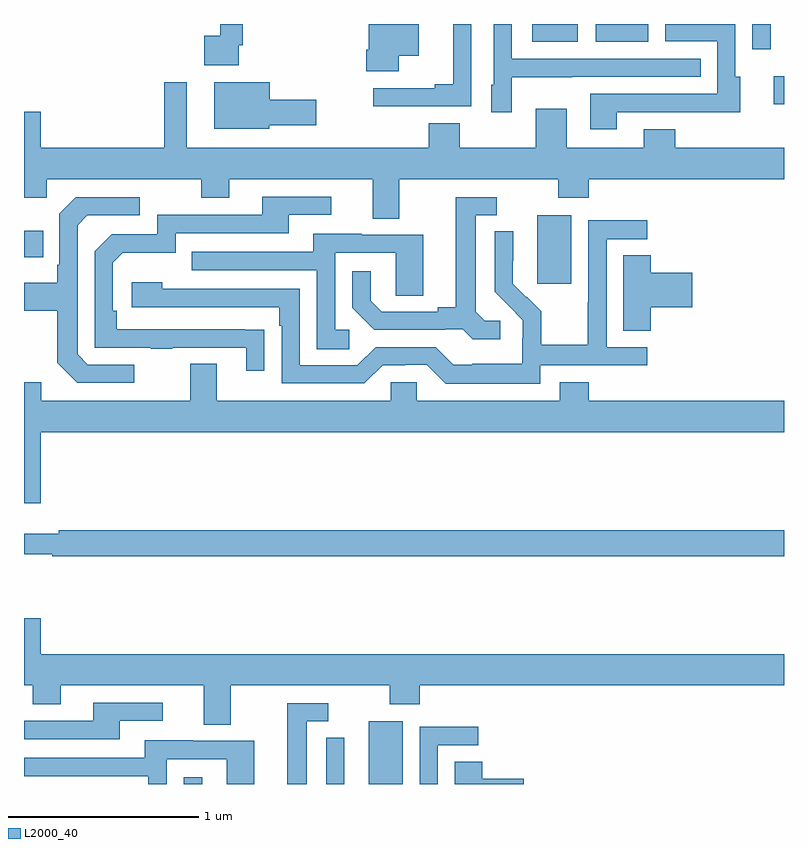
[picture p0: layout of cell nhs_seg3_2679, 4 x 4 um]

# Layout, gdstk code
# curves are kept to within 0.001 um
import gdstk
lib = gdstk.Library(unit=1e-6, precision=1e-09)
def R(c, l, rs):  # rectangles x0, y0, x1, y1
    for r in rs: c.add(gdstk.rectangle(r[:2], r[2:], *l))
def P(c, l, *ps):  # polygons
    for p in ps: c.add(gdstk.Polygon(p, *l))
L2000_40 = (2000, 40)

nhs_seg3_2679 = lib.new_cell('nhs_seg3_2679')
R(nhs_seg3_2679, L2000_40, [(249.84,696.4,249.937,696.436), (250.814,696.4,250.993,696.73), (251.702,699.033,251.881,699.394), (249,699.173,249.101,699.313), (252.945,699.978,253,700.126), (252.834,700.266,252.93,700.4), (251.675,700.307,251.914,700.4), (252.008,700.307,252.286,700.4)])
P(nhs_seg3_2679, L2000_40, [(251.568,700.121),(251.885,700.121),(251.885,700.122),(252.563,700.122),(252.563,700.218),(251.568,700.218),(251.568,700.4),(251.472,700.4),(251.472,700.08),(251.459,700.08),(251.459,699.936),(251.568,699.936)],
  [(250.131,700.288),(250.151,700.288),(250.151,700.4),(250.034,700.4),(250.034,700.337),(249.948,700.337),(249.948,700.184),(250.131,700.184)],
  [(251.355,700.4),(251.258,700.4),(251.258,700.082),(251.162,700.082),(251.162,700.062),(250.839,700.062),(250.839,699.966),(251.355,699.966)],
  [(252.121,699.936),(252.551,699.936),(252.551,699.935),(252.769,699.935),(252.769,700.122),(252.744,700.122),(252.744,700.4),(252.375,700.4),(252.375,700.308),(252.648,700.308),(252.648,700.032),(251.981,700.032),(251.981,699.846),(252.121,699.846)],
  [(250.972,700.232),(251.077,700.232),(251.077,700.4),(250.814,700.4),(250.814,700.264),(250.802,700.264),(250.802,700.152),(250.972,700.152)],
  [(250.29,699.866),(250.537,699.866),(250.537,700.001),(250.294,700.001),(250.294,700.093),(250.001,700.093),(250.001,699.848),(250.29,699.848)],
  [(250.975,699.584),(251.812,699.584),(251.812,699.485),(251.972,699.485),(251.972,699.584),(253,699.584),(253,699.748),(252.427,699.748),(252.427,699.847),(252.263,699.847),(252.263,699.748),(251.857,699.748),(251.857,699.955),(251.693,699.955),(251.693,699.748),(251.293,699.748),(251.293,699.877),(251.129,699.877),(251.129,699.748),(249.856,699.748),(249.856,700.093),(249.739,700.093),(249.739,699.748),(249.088,699.748),(249.088,699.937),(249,699.937),(249,699.485),(249.12,699.485),(249.12,699.584),(249.934,699.584),(249.934,699.485),(250.081,699.485),(250.081,699.584),(250.835,699.584),(250.835,699.376),(250.975,699.376)],
  [(250.265,698.792),(249.488,698.793),(249.488,698.89),(249.468,698.89),(249.468,699.144),(249.521,699.197),(249.798,699.197),(249.798,699.3),(250.393,699.3),(250.393,699.396),(250.618,699.396),(250.618,699.492),(250.253,699.492),(250.253,699.396),(249.702,699.396),(249.702,699.294),(249.462,699.294),(249.372,699.204),(249.372,698.697),(249.667,698.697),(249.667,698.692),(249.779,698.692),(249.779,698.697),(250.169,698.697),(250.169,698.574),(250.265,698.574)],
  [(251.506,698.838),(251.424,698.838),(251.377,698.885),(251.377,699.393),(251.488,699.393),(251.488,699.489),(251.273,699.489),(251.273,698.909),(251.177,698.909),(251.177,698.886),(250.882,698.886),(250.825,698.943),(250.825,699.1),(250.728,699.1),(250.728,698.906),(250.844,698.79),(251.216,698.79),(251.216,698.793),(251.31,698.793),(251.362,698.741),(251.506,698.741)],
  [(249.58,698.607),(249.336,698.607),(249.282,698.661),(249.282,699.342),(249.333,699.393),(249.61,699.393),(249.61,699.489),(249.273,699.489),(249.186,699.402),(249.186,699.133),(249.174,699.133),(249.174,699.037),(249,699.037),(249,698.89),(249.174,698.89),(249.174,698.617),(249.279,698.511),(249.58,698.511)],
  [(251.718,698.604),(252.28,698.604),(252.28,698.7),(252.066,698.7),(252.066,699.267),(252.28,699.267),(252.28,699.366),(251.97,699.366),(251.97,698.936),(251.968,698.936),(251.968,698.713),(251.723,698.713),(251.723,698.887),(251.646,698.964),(251.643,698.961),(251.573,699.032),(251.574,699.308),(251.478,699.308),(251.478,698.99),(251.624,698.842),(251.624,698.745),(251.622,698.745),(251.622,698.611),(251.359,698.611),(251.359,698.607),(251.259,698.607),(251.166,698.7),(250.851,698.7),(250.755,698.604),(250.452,698.604),(250.452,699.006),(249.728,699.006),(249.728,699.04),(249.567,699.04),(249.567,698.91),(250.343,698.91),(250.343,698.813),(250.356,698.813),(250.356,698.508),(250.791,698.508),(250.887,698.604),(251.006,698.604),(251.006,698.607),(251.121,698.607),(251.221,698.507),(251.718,698.507)],
  [(250.711,698.79),(250.638,698.79),(250.638,699.195),(250.956,699.195),(250.956,698.971),(251.101,698.971),(251.101,699.291),(250.777,699.291),(250.777,699.295),(250.523,699.295),(250.523,699.201),(249.883,699.201),(249.883,699.105),(250.542,699.105),(250.542,698.689),(250.711,698.689)],
  [(252.299,698.909),(252.517,698.909),(252.517,699.092),(252.299,699.092),(252.299,699.182),(252.155,699.182),(252.155,698.785),(252.299,698.785)],
  [(249.088,698.252),(253,698.252),(253,698.416),(251.972,698.416),(251.972,698.515),(251.819,698.515),(251.819,698.416),(251.067,698.416),(251.067,698.514),(250.929,698.514),(250.929,698.416),(250.015,698.416),(250.015,698.611),(249.875,698.611),(249.875,698.416),(249.091,698.416),(249.091,698.515),(249,698.515),(249,697.878),(249.088,697.878)],
  [(253,697.736),(249.184,697.736),(249.184,697.717),(249,697.717),(249,697.608),(249.148,697.608),(249.148,697.6),(253,697.6)],
  [(250.087,696.92),(250.924,696.92),(250.924,696.821),(251.084,696.821),(251.084,696.92),(253,696.92),(253,697.084),(249.088,697.084),(249.088,697.273),(249,697.273),(249,696.92),(249.046,696.92),(249.046,696.821),(249.193,696.821),(249.193,696.92),(249.947,696.92),(249.947,696.712),(250.087,696.712)],
  [(249.505,696.732),(249.73,696.732),(249.73,696.828),(249.365,696.828),(249.365,696.732),(249,696.732),(249,696.636),(249.505,696.636)],
  [(250.489,696.729),(250.6,696.729),(250.6,696.825),(250.385,696.825),(250.385,696.4),(250.489,696.4)],
  [(251.178,696.603),(251.392,696.603),(251.392,696.702),(251.082,696.702),(251.082,696.4),(251.178,696.4)],
  [(250.685,696.49),(250.686,696.49),(250.686,696.644),(250.59,696.644),(250.59,696.4),(250.685,696.4)],
  [(249.75,696.531),(250.068,696.531),(250.068,696.4),(250.213,696.4),(250.213,696.627),(249.889,696.627),(249.889,696.631),(249.635,696.631),(249.635,696.537),(249,696.537),(249,696.441),(249.654,696.441),(249.654,696.4),(249.75,696.4)],
  [(251.629,696.428),(251.411,696.428),(251.411,696.518),(251.267,696.518),(251.267,696.4),(251.629,696.4)])

lib.write_gds('nhs_seg3_2679.gds')
